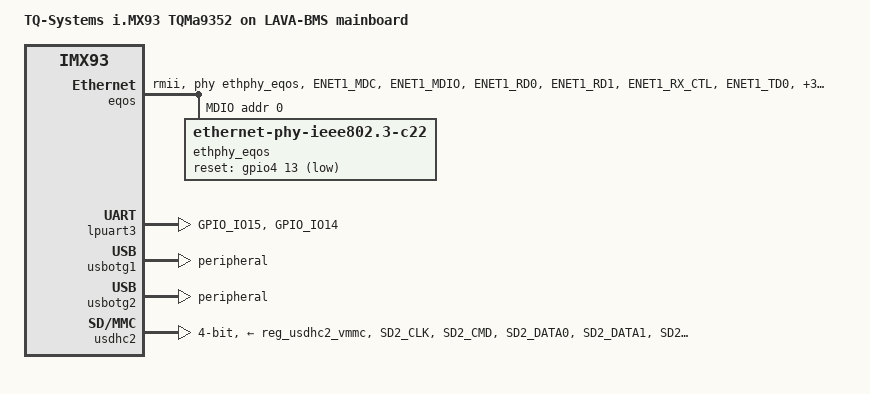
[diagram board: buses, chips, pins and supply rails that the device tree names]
// SPDX-License-Identifier: (GPL-2.0-or-later OR MIT)
/*
 * Copyright (c) 2026 TQ-Systems GmbH <linux@ew.tq-group.com>,
 * D-82229 Seefeld, Germany.
 * Author: Martin Schmiedel
 */
/dts-v1/;

#include "imx93-tqma9352.dtsi"

/{
	model = "TQ-Systems i.MX93 TQMa9352 on LAVA-BMS mainboard";
	compatible = "tq,imx93-tqma9352-lava-bms",
		     "tq,imx93-tqma9352", "fsl,imx93";
	chassis-type = "embedded";

	chosen {
		stdout-path = &lpuart3;
	};

	aliases {
		eeprom0 = &eeprom0;
		ethernet0 = &eqos;
		rtc0 = &pcf85063;
		rtc1 = &bbnsm_rtc;
	};
};

&gpio2 {
	pinctrl-names = "default";
	pinctrl-0 = <&pinctrl_gpio2>;

	/* BMS1..BMS17: analog-switched signals, plain SOC GPIOs from here */
	gpio-line-names =
		/* 00 */ "", "", "", "",
		/* 04 */ "", "", "BMS1", "BMS2",
		/* 08 */ "BMS3", "BMS4", "BMS5", "BMS6",
		/* 12 */ "BMS7", "BMS8", "UART3_TX", "UART3_RX",
		/* 16 */ "BMS9", "BMS10", "BMS11", "BMS12",
		/* 20 */ "BMS13", "BMS14", "BMS15", "BMS16",
		/* 24 */ "BMS17", "CAN2_TX", "", "",
		/* 28 */ "", "", "", "";
};

&eqos {
	pinctrl-names = "default";
	pinctrl-0 = <&pinctrl_eqos>;
	phy-mode = "rmii";
	phy-handle = <&ethphy_eqos>;
	status = "okay";

	mdio {
		compatible = "snps,dwmac-mdio";
		#address-cells = <1>;
		#size-cells = <0>;

		ethphy_eqos: ethernet-phy@0 {
			compatible = "ethernet-phy-ieee802.3-c22";
			reg = <0>;
			pinctrl-names = "default";
			pinctrl-0 = <&pinctrl_eqos_phy>;
			reset-gpios = <&gpio4 13 GPIO_ACTIVE_LOW>;
			reset-assert-us = <500000>;
			reset-deassert-us = <50000>;
		};
	};
};

&lpuart3 {
	pinctrl-names = "default";
	pinctrl-0 = <&pinctrl_uart3>;
	status = "okay";
};

&usbotg1 {
	dr_mode = "peripheral";
	status = "okay";
};

&usbotg2 {
	dr_mode = "peripheral";
	status = "okay";
};

&usdhc2 {
	pinctrl-names = "default", "state_100mhz", "state_200mhz";
	pinctrl-0 = <&pinctrl_usdhc2_hs>, <&pinctrl_usdhc2_gpio>;
	pinctrl-1 = <&pinctrl_usdhc2_uhs>, <&pinctrl_usdhc2_gpio>;
	pinctrl-2 = <&pinctrl_usdhc2_uhs>, <&pinctrl_usdhc2_gpio>;
	cd-gpios = <&gpio3 0 GPIO_ACTIVE_LOW>;
	vmmc-supply = <&reg_usdhc2_vmmc>;
	bus-width = <4>;
	no-sdio;
	no-mmc;
	disable-wp;
	status = "okay";
};

&iomuxc {
	/*
	 * DP83825IRMQ, RMII, PHY is REF_CLK master. Reset on the otherwise
	 * unused RGMII RD3 line (repurposed as plain GPIO), REF_CLK input
	 * on the dedicated ENET_QOS_CLOCK_GENERATE_REF_CLK function of TD2.
	 */
	pinctrl_eqos: eqosgrp {
		fsl,pins = <
			/* PD | FSEL_2 | DSE X4 */
			MX93_PAD_ENET1_MDC__ENET_QOS_MDC			0x51e
			/* SION | HYS | FSEL_2 | DSE X4 */
			MX93_PAD_ENET1_MDIO__ENET_QOS_MDIO			0x4000111e
			/* HYS | FSEL_0 | DSE no drive */
			MX93_PAD_ENET1_RD0__ENET_QOS_RGMII_RD0			0x1000
			MX93_PAD_ENET1_RD1__ENET_QOS_RGMII_RD1			0x1000
			MX93_PAD_ENET1_RX_CTL__ENET_QOS_RGMII_RX_CTL		0x1000
			/* PD | FSEL_2 | DSE X4 */
			MX93_PAD_ENET1_TD0__ENET_QOS_RGMII_TD0			0x51e
			MX93_PAD_ENET1_TD1__ENET_QOS_RGMII_TD1			0x51e
			MX93_PAD_ENET1_TX_CTL__ENET_QOS_RGMII_TX_CTL		0x51e
			/* HYS | FSEL_0 | DSE no drive, external 50 MHz REF_CLK in */
			MX93_PAD_ENET1_TD2__CCM_ENET_QOS_CLOCK_GENERATE_REF_CLK 0x1000
		>;
	};

	/* BMS1..BMS17 analog-switch signals, plain GPIO2 inputs */
	pinctrl_gpio2: gpio2grp {
		fsl,pins = <
			/* HYS | PD | FSEL_2 | DSE X4 */
			MX93_PAD_GPIO_IO06__GPIO2_IO06			0x151e
			MX93_PAD_GPIO_IO07__GPIO2_IO07			0x151e
			MX93_PAD_GPIO_IO08__GPIO2_IO08			0x151e
			MX93_PAD_GPIO_IO09__GPIO2_IO09			0x151e
			MX93_PAD_GPIO_IO10__GPIO2_IO10			0x151e
			MX93_PAD_GPIO_IO11__GPIO2_IO11			0x151e
			MX93_PAD_GPIO_IO12__GPIO2_IO12			0x151e
			MX93_PAD_GPIO_IO13__GPIO2_IO13			0x151e
			MX93_PAD_GPIO_IO16__GPIO2_IO16			0x151e
			MX93_PAD_GPIO_IO17__GPIO2_IO17			0x151e
			MX93_PAD_GPIO_IO18__GPIO2_IO18			0x151e
			MX93_PAD_GPIO_IO19__GPIO2_IO19			0x151e
			MX93_PAD_GPIO_IO20__GPIO2_IO20			0x151e
			MX93_PAD_GPIO_IO21__GPIO2_IO21			0x151e
			MX93_PAD_GPIO_IO22__GPIO2_IO22			0x151e
			MX93_PAD_GPIO_IO23__GPIO2_IO23			0x151e
			MX93_PAD_GPIO_IO24__GPIO2_IO24			0x151e
		>;
	};

	pinctrl_eqos_phy: eqosphygrp {
		fsl,pins = <
			/* FSEL_2 | DSE X4, PHY reset */
			MX93_PAD_ENET1_RD3__GPIO4_IO13				0x011e
		>;
	};

	pinctrl_uart3: uart3grp {
		fsl,pins = <
			/* HYS | FSEL_0 | No DSE */
			MX93_PAD_GPIO_IO15__LPUART3_RX			0x1000
			/* FSEL_2 | DSE X4 */
			MX93_PAD_GPIO_IO14__LPUART3_TX			0x011e
		>;
	};

	pinctrl_usdhc2_gpio: usdhc2gpiogrp {
		fsl,pins = <
			/* HYS | FSEL_0 | No DSE */
			MX93_PAD_SD2_CD_B__GPIO3_IO00			0x1000
		>;
	};

	/* enable SION for data and cmd pad due to ERR052021 */
	pinctrl_usdhc2_hs: usdhc2hsgrp {
		fsl,pins = <
			/* PD | FSEL_3 | DSE X5 */
			MX93_PAD_SD2_CLK__USDHC2_CLK			0x05be
			/* HYS | PU | FSEL_3 | DSE X4 */
			MX93_PAD_SD2_CMD__USDHC2_CMD			0x4000139e
			/* HYS | PU | FSEL_3 | DSE X3 */
			MX93_PAD_SD2_DATA0__USDHC2_DATA0		0x4000138e
			MX93_PAD_SD2_DATA1__USDHC2_DATA1		0x4000138e
			MX93_PAD_SD2_DATA2__USDHC2_DATA2		0x4000138e
			MX93_PAD_SD2_DATA3__USDHC2_DATA3		0x4000138e
			/* FSEL_2 | DSE X3 */
			MX93_PAD_SD2_VSELECT__USDHC2_VSELECT		0x010e
		>;
	};

	/* enable SION for data and cmd pad due to ERR052021 */
	pinctrl_usdhc2_uhs: usdhc2uhsgrp {
		fsl,pins = <
			/* PD | FSEL_3 | DSE X6 */
			MX93_PAD_SD2_CLK__USDHC2_CLK			0x05fe
			/* HYS | PU | FSEL_3 | DSE X4 */
			MX93_PAD_SD2_CMD__USDHC2_CMD			0x4000139e
			MX93_PAD_SD2_DATA0__USDHC2_DATA0		0x4000139e
			MX93_PAD_SD2_DATA1__USDHC2_DATA1		0x4000139e
			MX93_PAD_SD2_DATA2__USDHC2_DATA2		0x4000139e
			MX93_PAD_SD2_DATA3__USDHC2_DATA3		0x4000139e
			/* FSEL_2 | DSE X3 */
			MX93_PAD_SD2_VSELECT__USDHC2_VSELECT		0x010e
		>;
	};
};
